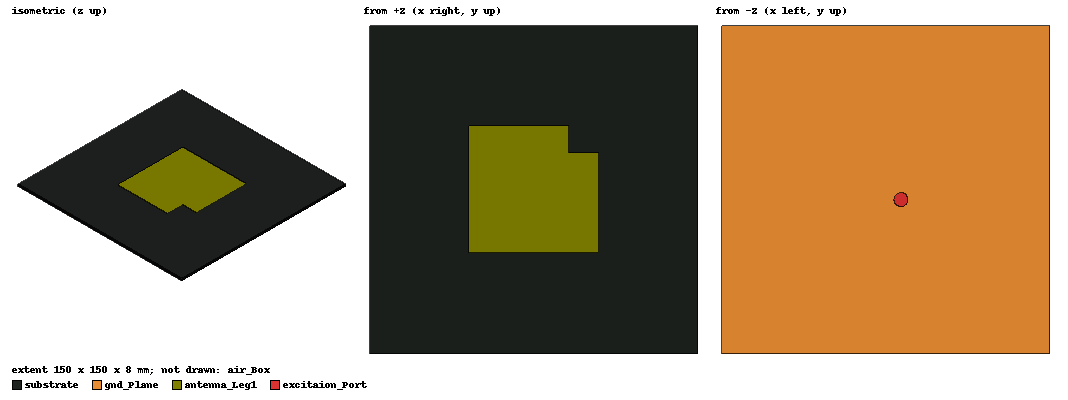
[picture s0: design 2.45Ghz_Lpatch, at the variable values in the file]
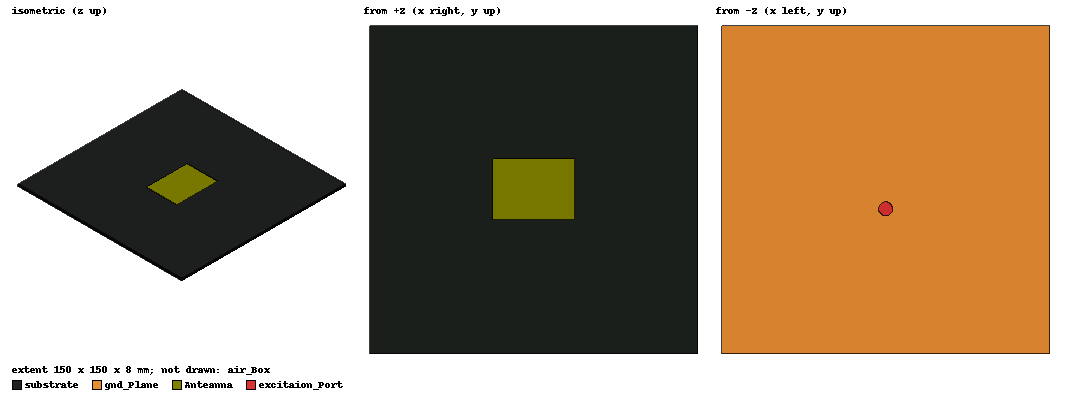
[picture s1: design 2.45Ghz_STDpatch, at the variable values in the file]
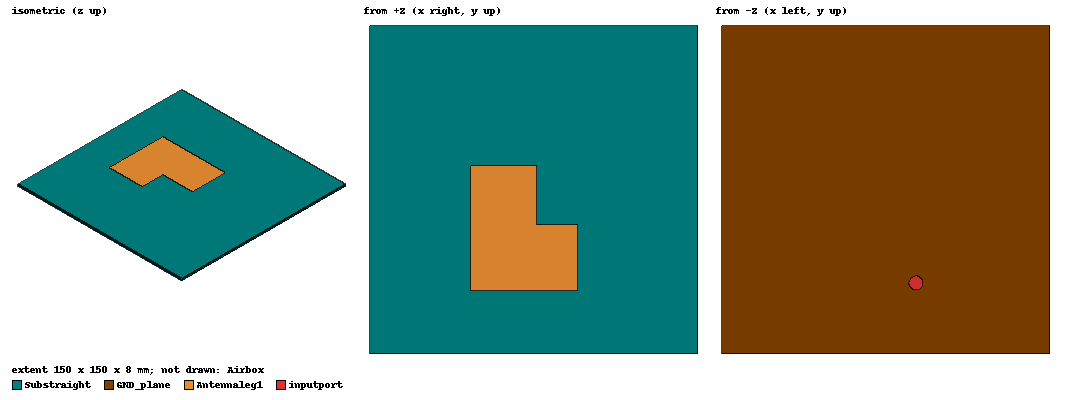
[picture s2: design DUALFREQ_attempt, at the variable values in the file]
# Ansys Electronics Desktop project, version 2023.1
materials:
  FR4_epoxy: permittivity=4.4 dielectric_loss_tangent=0.02
  Teflon (tm): permittivity=2.1 dielectric_loss_tangent=0.001
  pec: conductivity=1e+30
  vacuum: permittivity=1

design 2.45Ghz_Lpatch (HFSS, HFSS Modal Network, model units mm)
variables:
  x_Corner = 45.15mm
  y_Corner = 46.1mm
  patch_Width = 45.7mm
  leg1_Length = 58.24mm
  leg2_Length = 59.7mm
  pin_Radius = 0.381mm
  coax_Sheath_Radius = 3.175mm
  feed_Offset = 1.5mm
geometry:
  substrate [FR4_epoxy] = box(corner=(0mm, 0mm, 0mm), size=(150mm, 150mm, -1.5mm))
  gnd_Plane = rectangle(corner=(0mm, 0mm, -1.5mm), x_size=150mm, y_size=150mm)
  antenna_Leg1 = rectangle(corner=(x_Corner, y_Corner, 0mm), x_size=patch_Width, y_size=leg1_Length)
  antenna_Leg2 = rectangle(corner=(x_Corner, y_Corner, 0mm), x_size=leg2_Length, y_size=patch_Width)
  antenna_Leg1.unite(antenna_Leg2)
  coax_Sheath [Teflon (tm)] = cylinder(axis=Z, base_centre=(x_Corner+patch_Width/2, y_Corner+patch_Width/2 + feed_Offset, -1.5mm), radius=coax_Sheath_Radius, height=-6.5mm)
  inner_Conductor [pec] = cylinder(axis=Z, base_centre=(x_Corner+patch_Width/2, y_Corner+patch_Width/2 + feed_Offset, -1.5mm), radius=pin_Radius, height=-6.5mm)
  probe [pec] = cylinder(axis=Z, base_centre=((x_Corner+patch_Width/2), (y_Corner+patch_Width/2)+feed_Offset, -1.5mm), radius=pin_Radius, height=1.5mm)
  gnd_Hole = circle(normal=Z, centre=(x_Corner+patch_Width/2, y_Corner+patch_Width/2 + feed_Offset, -1.5mm), radius=pin_Radius/.4)
  gnd_Plane.subtract(gnd_Hole)
  air_Box [vacuum] = box(corner=(0mm, 0mm, 0mm), size=(150mm, 150mm, 75mm))
  excitaion_Port = circle(normal=Z, centre=(x_Corner+patch_Width/2, y_Corner+patch_Width/2 + feed_Offset, -8mm), radius=coax_Sheath_Radius)
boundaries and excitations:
  gnd_Plane: Perfect E Objects=gnd_Plane
  antenna_Plane: Perfect E Objects=antenna_Leg1
  Rad1: Radiation Faces=air_Box.face(+z, -y, -x, +x, +y)
  1: Wave Port Faces=excitaion_Port.face WavePortType=Terminal NumModes=1 Modes{Mode1{CharImp=Zpi RenormImp=50ohm}}
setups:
  Setup1: HfssDriven Frequency=2.45GHz MaxDeltaS=0.02 MaximumPasses=6 MinimumPasses=1 MinimumConvergedPasses=1 PercentRefinement=30 BasisOrder=1 PortAccuracy=2 DrivenSolverType="Direct Solver"
    sweep Sweep: 2GHz to 2.5GHz, 301 points; Type=Fast SaveFields
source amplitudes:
  1:1: 1V 0deg
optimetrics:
  ParametricSetup1: Parametric Sim._Setups=[Setup1]
    sweep feed_Offset: LIN -2.25mm 2.25mm 0.25mm
  ParametricSetup2: Parametric Sim._Setups=[Setup1]
    sweep leg1_Length: LIN 58.22mm 59mm 0.05mm
  ParametricSetup3: Parametric Sim._Setups=[Setup1]
    calculate Power on Setup1 : Sweep at Freq 2.3GHz
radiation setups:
  Infinite Sphere1: Infinite Sphere Theta=0deg..180deg step 2deg Phi=-180deg..180deg step 2deg
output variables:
  Power = mag(S(1,1))*mag(S(1,1))
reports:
  Nomininal: dB(S(1,1)) vs Freq on Setup1 : Sweep; markers MX1 at x=2.4498049e+09
  Leg1_sweep: dB(S(1,1)) vs Freq on Setup1 : Sweep [leg1_Length=all]; markers MX2 at x=2.4507823e+09
  offset_Sweep: dB(S(1,1)) vs Freq on Setup1 : Sweep [feed_Offset=all]
  Gain Plot 1: GainTotal vs Phi, Theta on Setup1 : LastAdaptive, Infinite Sphere1 [Freq=2.45GHz]
  Directivity Plot 1: DirTotal vs Phi, Theta on Setup1 : LastAdaptive, Infinite Sphere1 [Freq=2.45GHz]
  Z Parameter Plot 1: re(Z(1,1)), mag(Z(1,1)), im(Z(1,1)) vs Freq on Setup1 : Sweep; markers MX1 at x=2.45e+09
  Gain Plot 2: GainTotal vs Phi on Setup1 : LastAdaptive, Infinite Sphere1 [Theta=40deg Freq=2.45GHz]
  Directivity Plot 2: DirTotal vs Phi on Setup1 : LastAdaptive, Infinite Sphere1 [Theta=40deg Freq=2.45GHz]
  rE Plot 1: rETotal vs Phi, Theta on Setup1 : LastAdaptive, Infinite Sphere1 [Freq=2.45GHz]
  rE Plot 2: rETotal vs Phi on Setup1 : LastAdaptive, Infinite Sphere1 [Theta=44deg Freq=2.45GHz]; markers MX1 at x=0.1475893, MY1 at y=5.84083
  rE Plot 3: rETotal vs Theta on Setup1 : LastAdaptive, Infinite Sphere1 [Phi=106deg Freq=2.45GHz]; markers MY1 at y=3.25043

design 2.45Ghz_STDpatch (HFSS, HFSS Modal Network, model units mm)
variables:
  x_Corner = 56.3mm
  y_Corner = 61.2mm
  patch_Width = 37.4mm
  leg1_Length = 27.9mm
  pin_Radius = 0.381mm
  coax_Sheath_Radius = 3.175mm
  adjusted_Coax = 5.05mm
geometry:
  substrate [FR4_epoxy] = box(corner=(0mm, 0mm, 0mm), size=(150mm, 150mm, -1.5mm))
  gnd_Plane = rectangle(corner=(0mm, 0mm, -1.5mm), x_size=150mm, y_size=150mm)
  coax_Sheath [Teflon (tm)] = cylinder(axis=Z, base_centre=(x_Corner+patch_Width/2, y_Corner+adjusted_Coax, -1.5mm), radius=coax_Sheath_Radius, height=-6.5mm)
  inner_Conductor [pec] = cylinder(axis=Z, base_centre=(x_Corner+patch_Width/2, y_Corner+adjusted_Coax, -1.5mm), radius=pin_Radius, height=-6.5mm)
  probe [pec] = cylinder(axis=Z, base_centre=(x_Corner+patch_Width/2, y_Corner+adjusted_Coax, -1.5mm), radius=pin_Radius, height=1.5mm)
  gnd_Hole = circle(normal=Z, centre=(x_Corner+patch_Width/2, y_Corner+adjusted_Coax, -1.5mm), radius=pin_Radius/.4)
  gnd_Plane.subtract(gnd_Hole)
  air_Box [vacuum] = box(corner=(0mm, 0mm, 0mm), size=(150mm, 150mm, 75mm))
  excitaion_Port = circle(normal=Z, centre=(x_Corner+patch_Width/2, y_Corner+adjusted_Coax, -8mm), radius=coax_Sheath_Radius)
  Anteanna = rectangle(corner=(x_Corner, y_Corner, 0mm), x_size=patch_Width, y_size=leg1_Length)
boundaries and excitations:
  gnd_Plane: Perfect E Objects=gnd_Plane
  Rad1: Radiation Faces=air_Box.face(+z, -y, -x, +x, +y)
  Patch: Perfect E Objects=Anteanna
  1: Wave Port Faces=excitaion_Port.face WavePortType=Terminal NumModes=1 Modes{Mode1{CharImp=Zpi RenormImp=50ohm}}
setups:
  Setup1: HfssDriven Frequency=2.45GHz MaxDeltaS=0.02 MaximumPasses=6 MinimumPasses=1 MinimumConvergedPasses=1 PercentRefinement=30 BasisOrder=1 PortAccuracy=2 DrivenSolverType="Direct Solver"
    sweep Sweep: 2.3GHz to 2.6GHz, 201 points; Type=Fast SaveFields
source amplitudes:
  1:1: 1V 0deg
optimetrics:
  ParametricSetup1: Parametric Sim._Setups=[Setup1]
    sweep leg1_Length: LIN 27.5mm 28.2mm 0.05mm
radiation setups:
  Infinite Sphere1: Infinite Sphere Theta=0deg..180deg step 2deg Phi=-180deg..180deg step 2deg
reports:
  Nomininal: dB(S(1,1)) vs Freq on Setup1 : Sweep; markers MX1 at x=2.5456118e+09, MX2 at x=2.4500973e+09
  Leg1_sweep: dB(S(1,1)) vs Freq on Setup1 : Sweep [leg1_Length=all]; markers MX2 at x=2.4505867e+09
  Gain Plot 1: GainTotal vs Phi, Theta on Setup1 : LastAdaptive, Infinite Sphere1 [Freq=2.45GHz]
  Directivity Plot 1: DirTotal vs Phi, Theta on Setup1 : LastAdaptive, Infinite Sphere1 [Freq=2.45GHz]
  Z Parameter Plot 1: re(Z(1,1)), mag(Z(1,1)), im(Z(1,1)) vs Freq on Setup1 : Sweep; markers MX1 at x=2.4496073e+09
  Gain Plot 2: GainTotal vs Phi on Setup1 : LastAdaptive, Infinite Sphere1 [Theta=4deg Freq=2.45GHz]
  Directivity Plot 2: DirTotal vs Phi on Setup1 : LastAdaptive, Infinite Sphere1 [Theta=4deg Freq=2.45GHz]
  rE Plot 1: rETotal vs Phi, Theta on Setup1 : LastAdaptive, Infinite Sphere1 [Freq=2.45GHz]
  rE Plot 2: rETotal vs Phi on Setup1 : LastAdaptive, Infinite Sphere1 [Theta=4deg Freq=2.45GHz]

design DUALFREQ_attempt (HFSS, HFSS Modal Network, model units mm)
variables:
  antennaleg1width = 30.13mm  # tune 18.7mm..56.1mm
  antennaleg1length = 30.13mm
  topleftcornerxpos = 46.065mm
  substriaghtheight = 1.5mm
  bottomleftcornerypos = 28.815mm
  adjustedinputlenght = 3.5mm  # tune 9.35mm..28.05mm
  exstionsionleg1 = 0mm
  extensionleg1 = 27mm  # tune 31.375mm..94.125mm
  extensionleg2 = 18.877mm  # tune 14.125mm..42.375mm
  MIDDLEyaxis = 75mm- (antennaleg1length+extensionleg2)/2
  MIDDLExaxis = 75mm-(antennaleg1length+extensionleg1)/2
  Coax_sheat_radius = 3.175mm
  probe_radius = 0.381mm
  antennaleg2width = 30.13mm
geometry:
  Substraight [FR4_epoxy] = box(corner=(0mm, 0mm, 0mm), size=(150mm, 150mm, 1.5mm))
  GND_plane = rectangle(corner=(0mm, 0mm, 0mm), x_size=150mm, y_size=150mm)
  gndplanehole = circle(normal=Z, centre=(topleftcornerxpos+(antennaleg1width/2), bottomleftcornerypos+adjustedinputlenght, 0mm), radius=probe_radius /.4)
  GND_plane.subtract(gndplanehole)
  coaxdialetric [Teflon (tm)] = cylinder(axis=Z, base_centre=(topleftcornerxpos+antennaleg1width/2, bottomleftcornerypos+adjustedinputlenght, 0mm), radius=Coax_sheat_radius, height=-6.5mm)
  probe [pec] = cylinder(axis=Z, base_centre=((topleftcornerxpos+antennaleg1width/2), bottomleftcornerypos+adjustedinputlenght, 0mm), radius=probe_radius, height=1.5mm)
  innerconductor [pec] = cylinder(axis=Z, base_centre=(topleftcornerxpos+antennaleg1width/2, bottomleftcornerypos+adjustedinputlenght, 0mm), radius=probe_radius, height=-6.5mm)
  inputport = circle(normal=Z, centre=(topleftcornerxpos+antennaleg1width/2, bottomleftcornerypos+adjustedinputlenght, -6.5mm), radius=Coax_sheat_radius)
  Airbox [vacuum] = box(corner=(0mm, 0mm, 1.5mm), size=(150mm, 150mm, 75mm))
  Antennaleg1 = rectangle(corner=(topleftcornerxpos, bottomleftcornerypos, 1.5mm), x_size=antennaleg1width, y_size=antennaleg1length+ extensionleg1)
  Antennaleg2 = rectangle(corner=(topleftcornerxpos, bottomleftcornerypos, 1.5mm), x_size=antennaleg1length+extensionleg2, y_size=antennaleg2width)
  Antennaleg1.unite(Antennaleg2)
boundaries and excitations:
  gndplane: Perfect E Objects=GND_plane InfGroundPlane
  Rad1: Radiation Faces=Airbox.face(+z, -x, +y, +x, -y)
  Antennastrip: Perfect E Objects=Antennaleg1
  port1: Wave Port Faces=inputport.face WavePortType=Terminal NumModes=1 Modes{Mode1{CharImp=Zpi}}
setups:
  Setup1: HfssDriven Frequency=2.45GHz MaxDeltaS=0.02 MaximumPasses=20 MinimumPasses=1 MinimumConvergedPasses=1 PercentRefinement=30 BasisOrder=1 PortAccuracy=2 DrivenSolverType="Direct Solver"
    sweep Sweep: 2.3GHz to 3.4GHz, 201 points; Type=Fast SaveFields
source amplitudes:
  port1:1: 1V 0deg
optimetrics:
  Widthsweep: Parametric Sim._Setups=[Setup1]
    sweep antennaleg1width: LIN 34.115mm 44.345mm 0.7mm
  Leg1lengthsweep: Parametric Sim._Setups=[Setup1]
    sweep extensionleg1: LIN 10mm 64mm 1mm
  Inputsweep: Parametric Sim._Setups=[Setup1]
    sweep adjustedinputlenght: LIN 2.5mm 25mm 1mm
  Leg2lengthsweep: Parametric Sim._Setups=[Setup1]
    sweep extensionleg2: LIN 12mm 56.1mm 1mm
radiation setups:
  Infinite Sphere1: Infinite Sphere Theta=0deg..180deg step 2deg Phi=-180deg..180deg step 2deg
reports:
  standard: dB(S(port1,port1)) vs Freq on Setup1 : Sweep; markers MX1 at x=2.4500994e+09
  wsweep: dB(S(port1,port1)) vs Freq on Setup1 : Sweep [antennaleg1width=all]; markers MX1 at x=2.3546033e+09
  S_mag_standard: mag(S(port1,port1)) vs Freq on Setup1 : Sweep; markers MX1 at x=2.4513514e+09
  S Parameter Plot 1: dB(S(port1,port1)) vs Freq on Setup1 : Sweep; markers MX1 at x=2.4450095e+09
  2ndLswept: dB(S(port1,port1)) vs Freq on Setup1 : Sweep [extensionleg2=all]
  INPUTsweep: dB(S(port1,port1)) vs Freq on Setup1 : Sweep [adjustedinputlenght=all]
  1stLswept: dB(S(port1,port1)) vs Freq on Setup1 : Sweep [extensionleg1=all]; markers MX1 at x=2.4510823e+09, MX2 at x=2.4510823e+09
